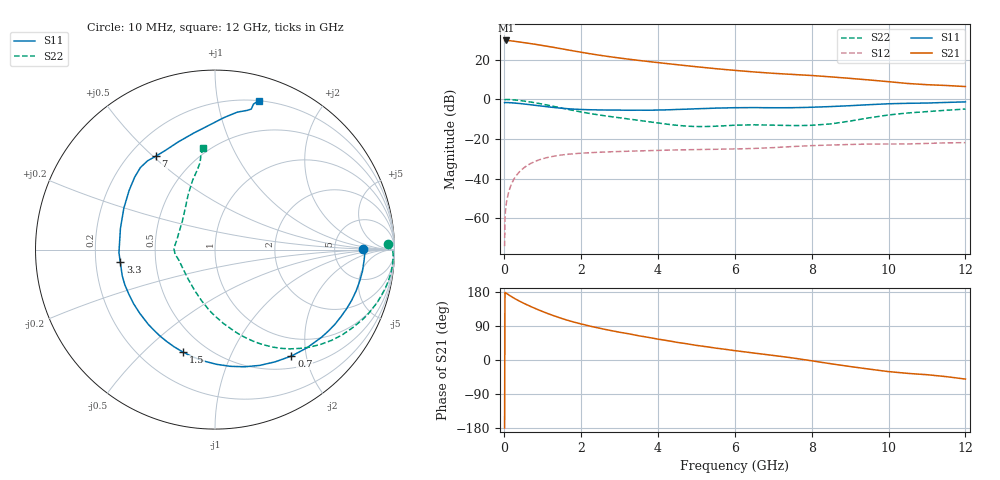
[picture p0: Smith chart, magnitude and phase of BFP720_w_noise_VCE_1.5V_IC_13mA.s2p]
! Infineon Technologies  Discrete & RF Semiconductors
! BFP720
! VCE =  1.5 V,  IC =  13 mA
! Common Emitter S-Parameters:  Aug 2012
# GHz  S  MA  R  50
!  f  S11  S21  S12  S22
! GHz  MAG  ANG  MAG  ANG  MAG  ANG  MAG  ANG
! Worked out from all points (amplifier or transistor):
!   105 points, 10 MHz to 12 GHz, reference 50 ohm
!   highest |S21| = 29.7 dB at 50 MHz (marker M1)
!   |S21| within 3 dB of that: start of sweep to 1.14 GHz
!   unconditionally stable (mu >= 1): start of sweep to 11.22 MHz; 5.074 GHz to 11.36 GHz
!   at 300 MHz: K = 0.11, MSG = 34.0 dB, |S12| = -38.7 dB
!   at 3.6 GHz: K = 0.78, MSG = 22.7 dB, |S12| = -25.9 dB
!   at 12 GHz: K = 0.85, MSG = 14.1 dB, |S12| = -21.8 dB
!   lowest NFmin = 0.59 dB at 450 MHz
!   S11 on the Smith chart (normalised r, x): 10 MHz: 10, +0; 700 MHz: 0.69, -1.74; 1.5 GHz: 0.37, -0.67; 3.3 GHz: 0.31, -0.06; 7 GHz: 0.30, +0.51; 12 GHz: 0.20, +1.32
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0.01  0.8242 0.1  30.1 -179.6  0.0002 122.4  0.9621 1.7
0.02  0.8349 -1.6  30.25 178.3  0.001 84.6  0.9911 -0.6
0.05  0.8327 -4.1  30.56 176.4  0.0022 79.5  0.9941 -2.4
0.2  0.8193 -16.3  29.66 166.6  0.0078 80.8  0.9806 -10.5
0.35  0.795 -28.1  28.34 157.9  0.0133 75.1  0.9507 -18.0
0.5  0.7684 -39.5  27.01 150.1  0.0185 69.3  0.9123 -25.0
0.7  0.7302 -54.3  25.32 140.7  0.0246 62.1  0.8536 -33.8
0.9  0.6918 -68.8  23.66 132.0  0.0298 55.6  0.7907 -41.9
1.1  0.6557 -82.6  21.97 123.9  0.0339 49.7  0.7251 -49.4
1.3  0.6244 -95.5  20.34 116.4  0.0372 44.7  0.662 -56.2
1.5  0.5982 -107.4  18.79 109.6  0.0398 40.3  0.6026 -62.2
1.8  0.5699 -123.0  16.68 100.4  0.0426 34.8  0.5256 -70.2
2.1  0.5525 -135.6  14.87 92.7  0.0446 30.8  0.4641 -77.0
2.6  0.5404 -152.7  12.48 81.3  0.0471 25.7  0.3884 -87.0
3.3  0.5322 -172.6  10.14 68.0  0.0496 20.8  0.3146 -100.0
4.1  0.5417 164.9  8.251 53.5  0.0521 16.6  0.2472 -119.0
5  0.5807 145.5  6.651 38.6  0.0544 12.8  0.2072 -150.4
6.1  0.6181 131.3  5.287 23.5  0.0567 10.3  0.2245 -174.9
7  0.6161 122.3  4.545 12.0  0.0608 9.7  0.2243 173.5
8.5  0.6598 100.4  3.694 -9.9  0.0708 2.0  0.2411 139.0
10.5  0.7966 76.9  2.516 -35.3  0.0754 -9.2  0.455 102.5
12  0.8646 73.6  2.106 -50.3  0.0812 -17.1  0.5709 96.6
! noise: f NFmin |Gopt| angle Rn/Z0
0.45  0.59  0.25  1  0.17
1.8  0.65  0.23  16  0.13
2.4  0.7  0.21  29  0.37
5.5  0.86  0.09  -13  0.17
10  1.05  0.42  -76  0.26
